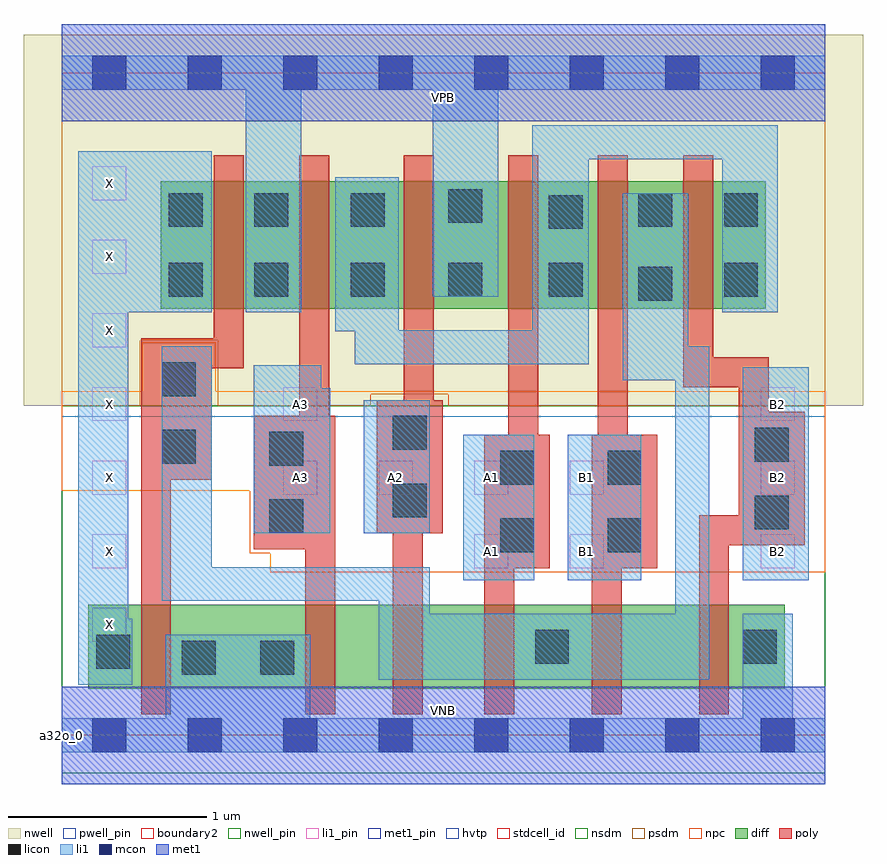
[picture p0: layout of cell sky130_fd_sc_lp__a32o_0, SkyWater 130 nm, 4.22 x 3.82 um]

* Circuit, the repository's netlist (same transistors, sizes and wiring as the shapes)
* Copyright 2020 The SkyWater PDK Authors
*
* Licensed under the Apache License, Version 2.0 (the "License");
* you may not use this file except in compliance with the License.
* You may obtain a copy of the License at
*
*     https://www.apache.org/licenses/LICENSE-2.0
*
* Unless required by applicable law or agreed to in writing, software
* distributed under the License is distributed on an "AS IS" BASIS,
* WITHOUT WARRANTIES OR CONDITIONS OF ANY KIND, either express or implied.
* See the License for the specific language governing permissions and
* limitations under the License.
*
* SPDX-License-Identifier: Apache-2.0

.SUBCKT sky130_fd_sc_lp__a32o_0 A1 A2 A3 B1 B2 VGND VNB VPB VPWR X
*.PININFO A1:I A2:I A3:I B1:I B2:I VGND:I VNB:I VPB:I VPWR:I X:O
MMPA0 pndA A1 VPWR VPB sky130_fd_pr__pfet_01v8_hvt m=1 w=0.64U l=0.15U mult=1 sa=0.265
+ sb=0.265 sd=0.28 area=0.063 perim=1.14
MMPA1 pndA A2 VPWR VPB sky130_fd_pr__pfet_01v8_hvt m=1 w=0.64U l=0.15U mult=1 sa=0.265
+ sb=0.265 sd=0.28 area=0.063 perim=1.14
MMPA2 pndA A3 VPWR VPB sky130_fd_pr__pfet_01v8_hvt m=1 w=0.64U l=0.15U mult=1 sa=0.265
+ sb=0.265 sd=0.28 area=0.063 perim=1.14
MMPB0 y B1 pndA VPB sky130_fd_pr__pfet_01v8_hvt m=1 w=0.64U l=0.15U mult=1 sa=0.265
+ sb=0.265 sd=0.28 area=0.063 perim=1.14
MMPB1 y B2 pndA VPB sky130_fd_pr__pfet_01v8_hvt m=1 w=0.64U l=0.15U mult=1 sa=0.265
+ sb=0.265 sd=0.28 area=0.063 perim=1.14
MMIPX X y VPWR VPB sky130_fd_pr__pfet_01v8_hvt m=1 w=0.64U l=0.15U mult=1 sa=0.265
+ sb=0.265 sd=0.28 area=0.063 perim=1.14
MMNA0 y A1 sndA1 VNB sky130_fd_pr__nfet_01v8 m=1 w=0.42U l=0.15U mult=1 sa=0.265
+ sb=0.265 sd=0.28 area=0.063 perim=1.14
MMNA1 sndA1 A2 sndA2 VNB sky130_fd_pr__nfet_01v8 m=1 w=0.42U l=0.15U mult=1 sa=0.265
+ sb=0.265 sd=0.28 area=0.063 perim=1.14
MMNA2 sndA2 A3 VGND VNB sky130_fd_pr__nfet_01v8 m=1 w=0.42U l=0.15U mult=1 sa=0.265
+ sb=0.265 sd=0.28 area=0.063 perim=1.14
MMNB0 y B1 sndB1 VNB sky130_fd_pr__nfet_01v8 m=1 w=0.42U l=0.15U mult=1 sa=0.265
+ sb=0.265 sd=0.28 area=0.063 perim=1.14
MMNB1 sndB1 B2 VGND VNB sky130_fd_pr__nfet_01v8 m=1 w=0.42U l=0.15U mult=1 sa=0.265
+ sb=0.265 sd=0.28 area=0.063 perim=1.14
MMINX X y VGND VNB sky130_fd_pr__nfet_01v8 m=1 w=0.42U l=0.15U mult=1 sa=0.265
+ sb=0.265 sd=0.28 area=0.063 perim=1.14
.ENDS sky130_fd_sc_lp__a32o_0

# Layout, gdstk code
import gdstk
lib = gdstk.Library(unit=1e-6, precision=1e-09)
def R(c, l, rs):  # rectangles x0, y0, x1, y1
    for r in rs: c.add(gdstk.rectangle(r[:2], r[2:], *l))
def A(c, l, x, y, w, h, nx, ny, dx, dy):  # array of equal rectangles
    R(c, l, [(x+i*dx, y+j*dy, x+i*dx+w, y+j*dy+h) for i in range(nx) for j in range(ny)])
def P(c, l, *ps):  # polygons
    for p in ps: c.add(gdstk.Polygon(p, *l))
nwell_pin = (64, 16)
nwell = (64, 20)
diff = (65, 20)
poly = (66, 20)
licon = (66, 44)
li1_pin = (67, 16)
li1 = (67, 20)
mcon = (67, 44)
met1_pin = (68, 16)
met1 = (68, 20)
hvtp = (78, 44)
stdcell_id = (81, 4)
nsdm = (93, 44)
psdm = (94, 20)
npc = (95, 20)
pwell_pin = (122, 16)
boundary2 = (236, 0)

sky130_fd_sc_lp__a32o_0 = lib.new_cell('sky130_fd_sc_lp__a32o_0')
R(sky130_fd_sc_lp__a32o_0, nwell_pin, [(0,3.085,3.84,3.33)])
R(sky130_fd_sc_lp__a32o_0, nwell, [(-0.19,1.655,4.03,3.52)])
R(sky130_fd_sc_lp__a32o_0, diff, [(0.135,0.235,3.635,0.655), (0.5,2.145,3.54,2.785)])
P(sky130_fd_sc_lp__a32o_0, poly, [(0.915,2.915),(0.765,2.915),(0.765,1.995),(0.4,1.995),(0.4,0.105),(0.55,0.105),(0.55,1.285),(0.755,1.285),(0.755,1.845),(0.915,1.845)],
  [(1.375,1.605),(1.345,1.605),(1.345,2.915),(1.195,2.915),(1.195,1.605),(0.965,1.605),(0.965,0.935),(1.225,0.935),(1.225,0.105),(1.375,0.105)],
  [(1.915,1.685),(1.87,1.685),(1.87,2.915),(1.72,2.915),(1.72,1.685),(1.585,1.685),(1.585,1.015),(1.665,1.015),(1.665,0.105),(1.815,0.105),(1.815,1.015),(1.915,1.015)],
  [(2.455,1.51),(2.395,1.51),(2.395,2.915),(2.245,2.915),(2.245,1.51),(2.125,1.51),(2.125,0.105),(2.275,0.105),(2.275,0.84),(2.455,0.84)],
  [(2.995,1.51),(2.845,1.51),(2.845,2.915),(2.695,2.915),(2.695,1.51),(2.665,1.51),(2.665,0.105),(2.815,0.105),(2.815,0.84),(2.995,0.84)],
  [(3.735,1.625),(3.555,1.625),(3.555,1.9),(3.275,1.9),(3.275,2.915),(3.125,2.915),(3.125,1.75),(3.405,1.75),(3.405,1.105),(3.205,1.105),(3.205,0.105),(3.355,0.105),(3.355,0.955),(3.735,0.955)])
R(sky130_fd_sc_lp__a32o_0, licon, [(0.605,0.305,0.775,0.475), (1,0.305,1.17,0.475), (0.175,0.335,0.345,0.505), (2.38,0.36,2.55,0.53), (3.425,0.36,3.595,0.53), (2.205,0.92,2.375,1.09), (2.745,0.92,2.915,1.09), (1.045,1.015,1.215,1.185), (3.485,1.035,3.655,1.205), (1.665,1.095,1.835,1.265), (2.205,1.26,2.375,1.43), (2.745,1.26,2.915,1.43), (1.045,1.355,1.215,1.525), (0.505,1.365,0.675,1.535), (3.485,1.375,3.655,1.545), (1.665,1.435,1.835,1.605), (0.505,1.705,0.675,1.875), (2.9,2.185,3.07,2.355), (0.54,2.205,0.71,2.375), (0.97,2.205,1.14,2.375), (1.455,2.205,1.625,2.375), (1.945,2.205,2.115,2.375), (2.45,2.205,2.62,2.375), (3.33,2.205,3.5,2.375), (2.45,2.545,2.62,2.715), (0.54,2.555,0.71,2.725), (0.97,2.555,1.14,2.725), (1.455,2.555,1.625,2.725), (2.9,2.555,3.07,2.725), (3.33,2.555,3.5,2.725), (1.945,2.575,2.115,2.745)])
A(sky130_fd_sc_lp__a32o_0, li1_pin, 0.155, 0.47, 0.17, 0.17, 1, 7, 0, 0.37)
A(sky130_fd_sc_lp__a32o_0, li1_pin, 3.515, 0.84, 0.17, 0.17, 1, 3, 0, 0.37)
A(sky130_fd_sc_lp__a32o_0, li1_pin, 1.115, 1.21, 0.17, 0.17, 4, 1, 0.48, 0)
R(sky130_fd_sc_lp__a32o_0, li1_pin, [(2.075,0.84,2.245,1.01), (2.555,0.84,2.725,1.01), (1.115,1.58,1.285,1.75)])
R(sky130_fd_sc_lp__a32o_0, li1, [(2.02,0.78,2.375,1.51), (2.545,0.78,2.915,1.51), (3.425,0.78,3.755,1.85), (1.52,1.015,1.85,1.685)])
P(sky130_fd_sc_lp__a32o_0, li1, [(3.425,0.085),(3.425,0.61),(3.675,0.61),(3.675,0.085),(3.84,0.085),(3.84,-0.085),(0,-0.085),(0,0.085),(0.525,0.085),(0.525,0.505),(1.25,0.505),(1.25,0.085)],
  [(3.84,3.415),(0,3.415),(0,3.245),(0.925,3.245),(0.925,2.125),(1.205,2.125),(1.205,3.245),(1.865,3.245),(1.865,2.205),(2.195,2.205),(2.195,3.245),(3.84,3.245)],
  [(0.755,2.935),(0.085,2.935),(0.085,0.255),(0.355,0.255),(0.355,0.585),(0.335,0.585),(0.335,2.125),(0.755,2.125)],
  [(3.6,3.065),(2.365,3.065),(2.365,2.035),(1.695,2.035),(1.695,2.805),(1.375,2.805),(1.375,2.03),(1.475,2.03),(1.475,1.865),(2.65,1.865),(2.65,2.895),(3.32,2.895),(3.32,2.125),(3.6,2.125)],
  [(3.255,1.955),(3.15,1.955),(3.15,2.725),(2.82,2.725),(2.82,1.785),(3.085,1.785),(3.085,0.61),(1.85,0.61),(1.85,0.845),(0.755,0.845),(0.755,1.955),(0.505,1.955),(0.505,0.675),(1.595,0.675),(1.595,0.28),(3.255,0.28)],
  [(1.35,1.745),(1.305,1.745),(1.305,1.86),(0.965,1.86),(0.965,1.015),(1.35,1.015)])
A(sky130_fd_sc_lp__a32o_0, mcon, 0.155, -0.085, 0.17, 0.17, 8, 2, 0.48, 3.33)
R(sky130_fd_sc_lp__a32o_0, met1_pin, [(0,0,3.84,0.245), (0,3.085,3.84,3.33)])
R(sky130_fd_sc_lp__a32o_0, met1, [(0,-0.245,3.84,0.245), (0,3.085,3.84,3.575)])
R(sky130_fd_sc_lp__a32o_0, hvtp, [(0,1.6,3.84,3.33)])
R(sky130_fd_sc_lp__a32o_0, stdcell_id, [(0,0,3.84,3.33)])
R(sky130_fd_sc_lp__a32o_0, nsdm, [(0,-0.19,3.84,1.655)])
P(sky130_fd_sc_lp__a32o_0, psdm, [(3.84,3.52),(0,3.52),(0,1.655),(0.395,1.655),(0.395,1.985),(0.785,1.985),(0.785,1.655),(1.555,1.655),(1.555,1.715),(1.945,1.715),(1.945,1.655),(3.84,1.655)])
P(sky130_fd_sc_lp__a32o_0, npc, [(3.84,1.73),(0.775,1.73),(0.775,1.975),(0.405,1.975),(0.405,1.73),(0,1.73),(0,1.23),(0.945,1.23),(0.945,0.915),(1.05,0.915),(1.05,0.82),(3.84,0.82)])
R(sky130_fd_sc_lp__a32o_0, pwell_pin, [(0,0,3.84,0.245)])
R(sky130_fd_sc_lp__a32o_0, boundary2, [(0,0,3.84,3.33)])
sky130_fd_sc_lp__a32o_0.add(gdstk.Label('VNB', (1.92,0.123), layer=64, texttype=59))
sky130_fd_sc_lp__a32o_0.add(gdstk.Label('VPB', (1.92,3.208), layer=64, texttype=5))
sky130_fd_sc_lp__a32o_0.add(gdstk.Label('a32o_0', (0,0), layer=83, texttype=44))
sky130_fd_sc_lp__a32o_0.add(gdstk.Label('VPWR', (1.92,3.208), layer=68, texttype=5))
sky130_fd_sc_lp__a32o_0.add(gdstk.Label('VGND', (1.92,0.123), layer=68, texttype=5))
sky130_fd_sc_lp__a32o_0.add(gdstk.Label('A1', (2.16,0.925), layer=67, texttype=5))
sky130_fd_sc_lp__a32o_0.add(gdstk.Label('A1', (2.16,1.295), layer=67, texttype=5))
sky130_fd_sc_lp__a32o_0.add(gdstk.Label('A2', (1.68,1.295), layer=67, texttype=5))
sky130_fd_sc_lp__a32o_0.add(gdstk.Label('A3', (1.2,1.295), layer=67, texttype=5))
sky130_fd_sc_lp__a32o_0.add(gdstk.Label('A3', (1.2,1.665), layer=67, texttype=5))
sky130_fd_sc_lp__a32o_0.add(gdstk.Label('B1', (2.64,0.925), layer=67, texttype=5))
sky130_fd_sc_lp__a32o_0.add(gdstk.Label('B1', (2.64,1.295), layer=67, texttype=5))
sky130_fd_sc_lp__a32o_0.add(gdstk.Label('B2', (3.6,0.925), layer=67, texttype=5))
sky130_fd_sc_lp__a32o_0.add(gdstk.Label('B2', (3.6,1.295), layer=67, texttype=5))
sky130_fd_sc_lp__a32o_0.add(gdstk.Label('B2', (3.6,1.665), layer=67, texttype=5))
sky130_fd_sc_lp__a32o_0.add(gdstk.Label('X', (0.24,0.555), layer=67, texttype=5))
sky130_fd_sc_lp__a32o_0.add(gdstk.Label('X', (0.24,0.925), layer=67, texttype=5))
sky130_fd_sc_lp__a32o_0.add(gdstk.Label('X', (0.24,1.295), layer=67, texttype=5))
sky130_fd_sc_lp__a32o_0.add(gdstk.Label('X', (0.24,1.665), layer=67, texttype=5))
sky130_fd_sc_lp__a32o_0.add(gdstk.Label('X', (0.24,2.035), layer=67, texttype=5))
sky130_fd_sc_lp__a32o_0.add(gdstk.Label('X', (0.24,2.405), layer=67, texttype=5))
sky130_fd_sc_lp__a32o_0.add(gdstk.Label('X', (0.24,2.775), layer=67, texttype=5))

lib.write_gds('sky130_fd_sc_lp__a32o_0.gds')
